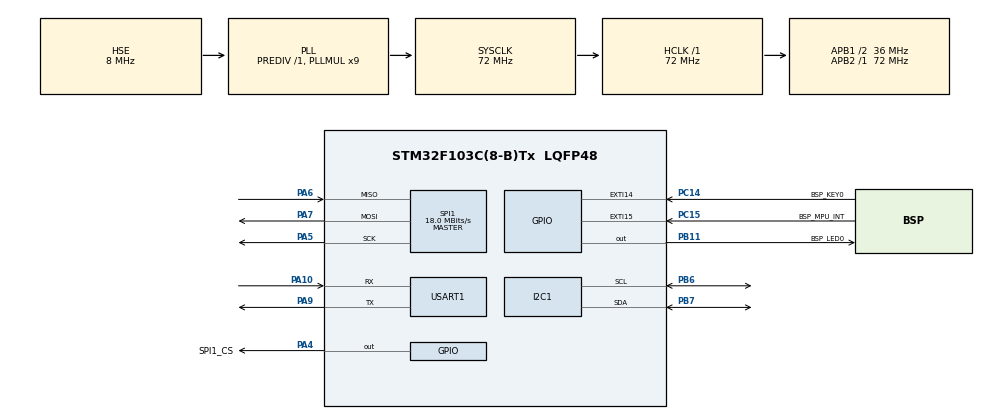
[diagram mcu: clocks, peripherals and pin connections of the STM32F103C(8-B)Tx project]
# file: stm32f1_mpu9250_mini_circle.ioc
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Mcu.Family=STM32F1
Mcu.Name=STM32F103C(8-B)Tx
Mcu.Package=LQFP48
NVIC.EXTI15_10_IRQn=true\:0\:0\:false\:false\:true\:true\:true
NVIC.PriorityGroup=NVIC_PRIORITYGROUP_4
NVIC.USART1_IRQn=true\:1\:0\:true\:false\:true\:true\:true
PA10.Mode=Asynchronous
PA10.Signal=USART1_RX
PA13.Mode=Serial_Wire
PA13.Signal=SYS_JTMS-SWDIO
PA14.Mode=Serial_Wire
PA14.Signal=SYS_JTCK-SWCLK
PA4.GPIO_Label=SPI1_CS
PA4.GPIO_Speed=GPIO_SPEED_FREQ_HIGH
PA4.PinState=GPIO_PIN_SET
PA4.Signal=GPIO_Output
PA5.Mode=Full_Duplex_Master
PA5.Signal=SPI1_SCK
PA6.Mode=Full_Duplex_Master
PA6.Signal=SPI1_MISO
PA7.Mode=Full_Duplex_Master
PA7.Signal=SPI1_MOSI
PA9.Mode=Asynchronous
PA9.Signal=USART1_TX
PB11.GPIO_Label=BSP_LED0
PB11.GPIO_ModeDefaultOutputPP=GPIO_MODE_OUTPUT_OD
PB11.GPIO_PuPd=GPIO_NOPULL
PB11.GPIO_Speed=GPIO_SPEED_FREQ_HIGH
PB11.PinState=GPIO_PIN_SET
PB11.Signal=GPIO_Output
PB6.Mode=I2C
PB6.Signal=I2C1_SCL
PB7.Mode=I2C
PB7.Signal=I2C1_SDA
PC14-OSC32_IN.GPIO_Label=BSP_KEY0
PC14-OSC32_IN.GPIO_ModeDefaultEXTI=GPIO_MODE_IT_FALLING
PC14-OSC32_IN.GPIO_PuPd=GPIO_PULLUP
PC14-OSC32_IN.Signal=GPXTI14
PC15-OSC32_OUT.GPIO_Label=BSP_MPU_INT
PC15-OSC32_OUT.GPIO_ModeDefaultEXTI=GPIO_MODE_IT_FALLING
PC15-OSC32_OUT.GPIO_PuPd=GPIO_NOPULL
PC15-OSC32_OUT.Signal=GPXTI15
PD0-OSC_IN.Mode=HSE-External-Oscillator
PD0-OSC_IN.Signal=RCC_OSC_IN
PD1-OSC_OUT.Mode=HSE-External-Oscillator
PD1-OSC_OUT.Signal=RCC_OSC_OUT
ProjectManager.HeapSize=0x200
ProjectManager.StackSize=0x400
ProjectManager.TargetToolchain=MDK-ARM V5
RCC.AHBFreq_Value=72000000
RCC.APB1CLKDivider=RCC_HCLK_DIV2
RCC.APB1Freq_Value=36000000
RCC.APB1TimFreq_Value=72000000
RCC.APB2Freq_Value=72000000
RCC.APB2TimFreq_Value=72000000
RCC.HCLKFreq_Value=72000000
RCC.PLLMUL=RCC_PLL_MUL9
RCC.PLLSourceVirtual=RCC_PLLSOURCE_HSE
RCC.SYSCLKFreq_VALUE=72000000
RCC.SYSCLKSource=RCC_SYSCLKSOURCE_PLLCLK
RCC.USBFreq_Value=72000000
SPI1.BaudRatePrescaler=SPI_BAUDRATEPRESCALER_4
SPI1.CLKPhase=SPI_PHASE_2EDGE
SPI1.CLKPolarity=SPI_POLARITY_HIGH
SPI1.CalculateBaudRate=18.0 MBits/s
SPI1.Direction=SPI_DIRECTION_2LINES
SPI1.Mode=SPI_MODE_MASTER
SPI1.VirtualType=VM_MASTER
TIM4.Period=1000
TIM4.Prescaler=71
USART1.VirtualMode=VM_ASYNC
VP_TIM4_VS_ClockSourceINT.Mode=Internal
board=custom

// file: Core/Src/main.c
/* USER CODE BEGIN Header */
/**
  ******************************************************************************
  * @file           : main.c
  * @brief          : Main program body
  ******************************************************************************
  * @attention
  *
  * <h2><center>&copy; Copyright (c) 2019 STMicroelectronics.
  * All rights reserved.</center></h2>
  *
  * This software component is licensed by ST under BSD 3-Clause license,
  * the "License"; You may not use this file except in compliance with the
  * License. You may obtain a copy of the License at:
  *                        opensource.org/licenses/BSD-3-Clause
  *
  ******************************************************************************
  */
/* USER CODE END Header */

#include "main.h"
#include "i2c.h"
#include "spi.h"
#include "tim.h"
#include "usart.h"
#include "gpio.h"

/* USER CODE BEGIN Includes */
#include "bsp_w25qxx.h"
#include "bsp_mpu9250.h"
#include "bsp_delay.h"

#include "stdio.h"
/* USER CODE END Includes */

/* USER CODE BEGIN PD */
#define FIRMWARE_VERSION 0x190731
/* USER CODE END PD */

void SystemClock_Config(void);

/* USER CODE BEGIN 0 */

void BSP_MPU_INT_CALLBACK();
void BSP_KEY0_CALLBACK()
{
	HAL_GPIO_TogglePin(BSP_LED0_GPIO_Port, BSP_LED0_Pin);
	BSP_DELAY(0,20,0);
}
void HAL_GPIO_EXTI_Callback(uint16_t GPIO_Pin)
{
	switch(GPIO_Pin)
	{
		case BSP_KEY0_Pin			:	BSP_KEY0_CALLBACK();break;
//		case BSP_MPU_INT_Pin	:	BSP_MPU_INT_CALLBACK();break;
		default:break;
	}
}

/* USER CODE END 0 */

int main(void)
{

  /* MCU Configuration--------------------------------------------------------*/

  /* Reset of all peripherals, Initializes the Flash interface and the Systick. */
  HAL_Init();

  /* Configure the system clock */
  SystemClock_Config();

  /* Initialize all configured peripherals */
  MX_GPIO_Init();
  MX_SPI1_Init();
  MX_I2C1_Init();
  MX_USART1_UART_Init();
  MX_TIM4_Init();
  /* USER CODE BEGIN 2 */
	printf("Version:%X\r\n",FIRMWARE_VERSION);
	BSP_W25QXX_INIT(0);
	printf("FLASH:%s\r\n",bsp_w25qxx.name);
	extern uint8_t uart1Value;
	HAL_UART_Receive_IT(&huart1, &uart1Value, 1);
	HAL_Delay(10);
	BSP_MPU_INIT();
  /* USER CODE END 2 */

  /* Infinite loop */
  while (1)
  {

    /* USER CODE BEGIN 3 */
		//BSP_MPU_TEST();
		BSP_DELAY(1,0,0);
//		double temp = 0;
//		MPU_GET_TEMPERATURE(&temp);
//		printf("temp=%.2f\r\n", temp);
//		BSP_DELAY(1,0,0);
//		uint32_t tickStart = HAL_GetTick();
		HAL_GPIO_TogglePin(BSP_LED0_GPIO_Port, BSP_LED0_Pin);
//		BSP_DELAY(0,100,0);
//		printf("tick:%d\r\n",HAL_GetTick() - tickStart);
  }
  /* USER CODE END 3 */
}

void SystemClock_Config(void)
{
  RCC_OscInitTypeDef RCC_OscInitStruct = {0};
  RCC_ClkInitTypeDef RCC_ClkInitStruct = {0};

  /** Initializes the CPU, AHB and APB busses clocks
  */
  RCC_OscInitStruct.OscillatorType = RCC_OSCILLATORTYPE_HSE;
  RCC_OscInitStruct.HSEState = RCC_HSE_ON;
  RCC_OscInitStruct.HSEPredivValue = RCC_HSE_PREDIV_DIV1;
  RCC_OscInitStruct.HSIState = RCC_HSI_ON;
  RCC_OscInitStruct.PLL.PLLState = RCC_PLL_ON;
  RCC_OscInitStruct.PLL.PLLSource = RCC_PLLSOURCE_HSE;
  RCC_OscInitStruct.PLL.PLLMUL = RCC_PLL_MUL9;
  if (HAL_RCC_OscConfig(&RCC_OscInitStruct) != HAL_OK)
  {
    Error_Handler();
  }
  /** Initializes the CPU, AHB and APB busses clocks
  */
  RCC_ClkInitStruct.ClockType = RCC_CLOCKTYPE_HCLK|RCC_CLOCKTYPE_SYSCLK
                              |RCC_CLOCKTYPE_PCLK1|RCC_CLOCKTYPE_PCLK2;
  RCC_ClkInitStruct.SYSCLKSource = RCC_SYSCLKSOURCE_PLLCLK;
  RCC_ClkInitStruct.AHBCLKDivider = RCC_SYSCLK_DIV1;
  RCC_ClkInitStruct.APB1CLKDivider = RCC_HCLK_DIV2;
  RCC_ClkInitStruct.APB2CLKDivider = RCC_HCLK_DIV1;

  if (HAL_RCC_ClockConfig(&RCC_ClkInitStruct, FLASH_LATENCY_2) != HAL_OK)
  {
    Error_Handler();
  }
}

/* USER CODE BEGIN 4 */

void BSP_MPU_INT_CALLBACK()
{
#if 0
	static uint16_t time =0;
	static uint16_t tickStart = 0, tickEnd = 0, tickDiff;
	//uint8_t status = BSP_MPU_INT_STATUS();
	//	printf("mpu int\r\n");
	time++;
	if(time == 100)
	{
		time=0;
		tickEnd = HAL_GetTick();
		if(tickEnd>=tickStart){
			tickDiff = tickEnd - tickStart;
		}else{
			tickDiff = 65536 - tickStart + tickEnd;
		}

		printf("Frequence :	%.2fHz	Tick :	%d\r\n", 100*1000/1.0/tickDiff, tickDiff);
		tickStart = tickEnd;

	}
#endif
#if 0
	static uint8_t IntTime = 0;
	IntTime++;
	if(IntTime == 100)
	{
		IntTime = 0;
		BSP_MPU_TEST();
	}
#endif
#if 0
	uint8_t mag_status = BSP_MPU_MAG_STATUS(0);
	static uint16_t mag_time=0;
	static uint16_t mag_tickStart = 0, mag_tickEnd = 0, mag_tickDiff;
	if(mag_status & 0x01){
		BSP_MPU_TEST();
		mag_time++;
		if(mag_time == 1000){
			mag_time=0;
			mag_tickEnd = HAL_GetTick();
			if(mag_tickEnd>=mag_tickStart){
				mag_tickDiff = mag_tickEnd - mag_tickStart;
			}else{
				mag_tickDiff = 65536 - mag_tickStart + mag_tickEnd;
			}
			//printf("Frequence :	%.2fHz	Tick :	%d\r\n", 1000*1000/1.0/mag_tickDiff, mag_tickDiff);
			mag_tickStart = mag_tickEnd;
		}
	}
#endif
}
/* USER CODE END 4 */

void Error_Handler(void)
{
}

/************************ (C) COPYRIGHT STMicroelectronics *****END OF FILE****/
